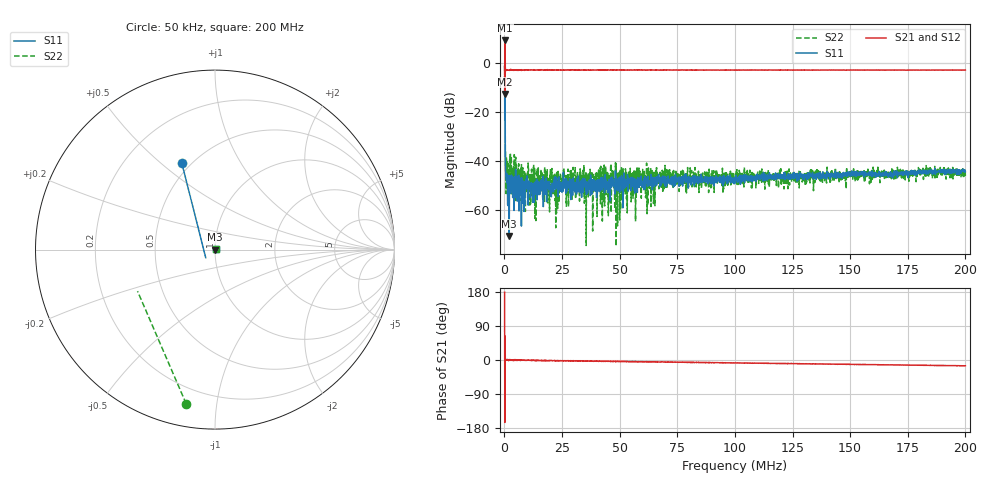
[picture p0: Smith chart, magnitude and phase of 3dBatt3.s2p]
! 19-Feb-26 2:56:53 PM
! E:\VNA_MEASUREMENTS\RECBLOCK\3DBATT3.S2P
! CHANNEL.1
! TR.MEASUREMENT
! CORRECTED.DATA
# GHZ S RI R 50.0
! FREQ.GHZ  S11RE  S11IM  S21RE  S21IM  S12RE  S12IM  S22RE  S22IM
!; PortSelection: Port_12
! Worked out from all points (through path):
!   2000 points, 50 kHz to 200 MHz, reference 50 ohm
!   highest |S21| = 9.07 dB at 250 kHz (marker M1); lowest = -12.8 dB at 150 kHz (marker M2)
!   lowest |S11| = -70.8 dB at 2.05 MHz (marker M3), VSWR 1.00, Z = 50 + j0.00123 ohm
!   |S11| at or under -10 dB: 74.17 kHz to 197.2 kHz (123 kHz wide, 90.7 % of centre); 283.2 kHz to end of sweep
!   |S22| runs from -74.9 to 2.5 dB; largest |S21 - S12| = 3.5
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5e-05  -0.1845 0.4801  -0.8364 0.019  0.4592 -0.0632  -0.1604 -0.8595
0.000150025  -0.0517 -0.0453  -0.2203 -0.06  0.6945 -0.0328  -0.4315 -0.2317
0.00025005  -0.6519 -1.627  1.288 2.533  0.5785 -0.8866  -0.00267 1.329
0.001350325  0.000443 0.00119  0.7123 0.0133  0.702 -0.0026  0.00494 0.00754
0.0020505  -0.000289 1.23e-05  0.7131 -0.00625  0.7023 7.24e-05  0.00392 -0.00201
0.004051001  0.00334 -0.000903  0.6985 -0.00854  0.7064 -0.00559  -0.00305 0.000214
0.01015253  0.00241 0.000447  0.7068 -0.00387  0.7075 -0.00765  0.00414 0.00336
0.0128532  0.00139 -0.000159  0.7038 -0.0129  0.7039 -0.0125  0.00175 0.00174
0.02065515  0.00281 0.000611  0.7084 -0.0199  0.7069 -0.0221  0.00372 0.000159
0.0220555  0.00461 0.000942  0.7084 -0.0305  0.7059 -0.0219  -0.00137 0.000622
0.02505625  0.00269 0.00147  0.7077 -0.023  0.7081 -0.0255  0.00378 0.000297
0.03345835  0.00158 0.000814  0.7076 -0.0274  0.7088 -0.0314  0.00411 -0.000531
0.04626156  0.00284 0.000372  0.7143 -0.0399  0.7064 -0.0427  -0.000708 0.000507
0.04946236  0.00376 0.00193  0.7075 -0.047  0.7041 -0.0487  0.00309 0.00173
0.05106276  0.00239 0.000375  0.7064 -0.0445  0.7087 -0.0478  0.00164 0.000682
0.05826456  0.0028 0.000831  0.7119 -0.0535  0.7058 -0.0548  0.00147 0.00429
0.06126531  0.00396 0.00128  0.6986 -0.0513  0.7048 -0.0579  0.000827 -0.00163
0.06676668  0.00374 0.00253  0.7023 -0.0649  0.7055 -0.0649  0.00366 0.000846
0.100075  0.00407 0.0021  0.7012 -0.0968  0.6994 -0.0933  0.00294 0.00241
0.1333833  0.00471 0.00231  0.6951 -0.1289  0.6954 -0.1259  0.00469 0.00408
0.1666917  0.00448 0.00275  0.6857 -0.1558  0.6856 -0.1554  0.00247 0.00424
0.2  0.00511 0.00301  0.6826 -0.1859  0.6793 -0.1848  0.00334 0.00369
